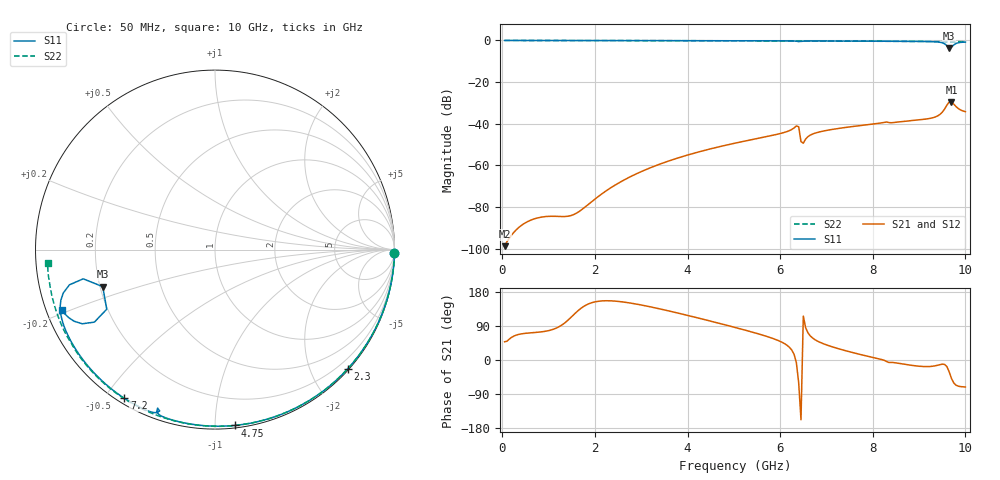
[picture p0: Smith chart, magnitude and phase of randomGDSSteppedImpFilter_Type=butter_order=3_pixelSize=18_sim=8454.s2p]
! freq	dB(S11)	phase(S11)	dB(S12)	phase(S12)
!  dB(S21)	phase(S21)	dB(S22)	phase(S22)
!S-par simulation data
#  GHz  S  DB  R 50
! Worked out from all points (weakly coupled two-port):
!   200 points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, 50 MHz to 10 GHz, reference 50 ohm
!   highest |S21| = -29.48 dB at 9.7 GHz (marker M1); lowest = -98.7 dB at 50 MHz (marker M2)
!   lowest |S11| = -3.6 dB at 9.65 GHz (marker M3), VSWR 4.86, Z = 10.5 - j7.7 ohm
!   |S11| at or under -10 dB: nowhere
!   |S22| runs from -0.6 to 0.0 dB; largest |S21 - S12| = 0
!   S11 on the Smith chart (normalised r, x): 50 MHz: open; 2.3 GHz: 0.02, -2.60; 4.75 GHz: 0.02, -1.12; 7.2 GHz: 0.02, -0.56; 10 GHz: 0.05, -0.19
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0.05  -0.00 -0.9  -98.71 48.0  -98.71 48.0  -0.00 -1.0
1.75  -0.04 -32.2  -80.60 140.7  -80.60 140.7  -0.04 -34.4
2.3  -0.05 -42.0  -71.31 156.3  -71.31 156.3  -0.06 -44.8
2.8  -0.07 -50.8  -65.01 149.6  -65.01 149.6  -0.07 -54.1
3.4  -0.08 -61.1  -59.36 134.9  -59.36 134.9  -0.09 -65.1
4.75  -0.12 -83.5  -50.66 94.7  -50.66 94.7  -0.13 -88.7
5.05  -0.14 -88.3  -49.16 85.2  -49.16 85.2  -0.14 -93.8
6.05  -0.19 -104.2  -44.39 46.2  -44.39 46.2  -0.19 -110.4
6.35  -0.33 -109.7  -41.04 -6.7  -41.04 -6.7  -0.22 -115.4
6.4  -0.55 -109.9  -41.39 -60.1  -41.39 -60.1  -0.24 -116.2
6.45  -0.44 -108.9  -48.56 -157.6  -48.56 -157.6  -0.25 -116.8
6.5  -0.30 -109.8  -49.30 115.9  -49.30 115.9  -0.24 -117.6
6.6  -0.24 -111.7  -46.16 71.6  -46.16 71.6  -0.24 -119.2
6.7  -0.24 -113.4  -44.92 58.1  -44.92 58.1  -0.24 -120.9
7.2  -0.26 -121.3  -42.42 31.9  -42.42 31.9  -0.28 -129.0
8.35  -0.36 -139.2  -39.41 -6.6  -39.41 -6.6  -0.40 -147.5
9.35  -0.66 -158.3  -36.71 -15.2  -36.71 -15.2  -0.50 -164.2
9.55  -1.57 -166.4  -32.94 -11.6  -32.94 -11.6  -0.53 -167.6
9.65  -3.62 -161.7  -29.52 -31.2  -29.52 -31.2  -0.54 -169.3
9.7  -3.24 -151.2  -29.48 -48.8  -29.48 -48.8  -0.54 -170.2
9.8  -1.44 -150.8  -31.78 -66.6  -31.78 -66.6  -0.55 -172.0
10  -0.76 -158.3  -34.19 -71.3  -34.19 -71.3  -0.58 -175.6
